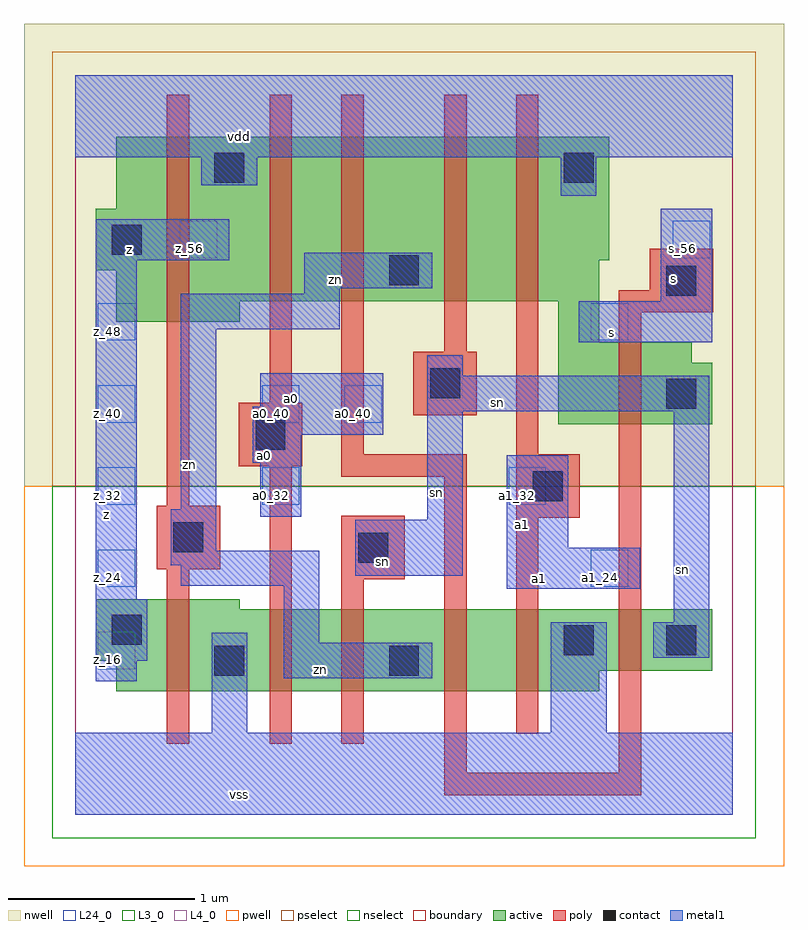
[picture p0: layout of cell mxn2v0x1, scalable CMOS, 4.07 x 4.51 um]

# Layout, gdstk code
import gdstk
lib = gdstk.Library(unit=1e-6, precision=2.5e-09)
def R(c, l, rs):  # rectangles x0, y0, x1, y1
    for r in rs: c.add(gdstk.rectangle(r[:2], r[2:], *l))
def A(c, l, x, y, w, h, nx, ny, dx, dy):  # array of equal rectangles
    R(c, l, [(x+i*dx, y+j*dy, x+i*dx+w, y+j*dy+h) for i in range(nx) for j in range(ny)])
L3_0 = (3, 0)
L4_0 = (4, 0)
L24_0 = (24, 0)
contact = (25, 0)
pwell = (41, 0)
nwell = (42, 0)
active = (43, 0)
pselect = (44, 0)
nselect = (45, 0)
poly = (46, 0)
metal1 = (49, 0)
boundary = (63, 0)

mxn2v0x1 = lib.new_cell('mxn2v0x1')
R(mxn2v0x1, L3_0, [(0.22,0.66,2.805,0.77), (0.22,0.77,3.41,0.825), (0.11,0.825,3.41,1.1), (0.11,1.1,0.88,1.155)])
R(mxn2v0x1, L4_0, [(2.585,2.09,3.41,2.42), (2.585,2.42,3.3,2.53), (2.585,2.53,2.805,2.75), (0.22,2.64,0.88,2.75), (0.22,2.75,2.805,2.915), (0.11,2.915,2.805,2.97), (0.11,2.97,2.86,3.245), (0.22,3.245,2.86,3.63)])
A(mxn2v0x1, L24_0, 0.12, 0.78, 0.2, 0.2, 1, 5, 0, 0.44)
R(mxn2v0x1, L24_0, [(2.76,1.22,2.96,1.42), (1,1.66,1.2,1.86), (2.32,1.66,2.52,1.86), (1,2.1,1.2,2.3), (1.44,2.1,1.64,2.3), (2.76,2.54,2.96,2.74), (0.56,2.98,0.76,3.18), (3.2,2.98,3.4,3.18)])
R(mxn2v0x1, contact, [(0.745,0.745,0.905,0.905), (1.68,0.745,1.84,0.905), (2.615,0.855,2.775,1.015), (3.165,0.855,3.325,1.015), (0.195,0.91,0.355,1.07), (1.515,1.35,1.675,1.51), (0.525,1.405,0.685,1.565), (2.45,1.68,2.61,1.84), (0.965,1.955,1.125,2.115), (3.165,2.175,3.325,2.335), (1.9,2.23,2.06,2.39), (3.165,2.78,3.325,2.94), (1.68,2.835,1.84,2.995), (0.195,3,0.355,3.16), (0.745,3.385,0.905,3.545), (2.615,3.385,2.775,3.545)])
R(mxn2v0x1, pwell, [(-0.275,-0.275,3.795,1.76)])
R(mxn2v0x1, nwell, [(-0.275,1.76,3.795,4.235)])
R(mxn2v0x1, active, [(0.22,0.66,2.805,0.77), (0.22,0.77,3.41,0.825), (0.11,0.825,3.41,1.1), (0.11,1.1,0.88,1.155), (2.585,2.09,3.41,2.42), (2.585,2.42,3.3,2.53), (2.585,2.53,2.805,2.75), (0.22,2.64,0.88,2.75), (0.22,2.75,2.805,2.915), (0.11,2.915,2.805,2.97), (0.11,2.97,2.86,3.245), (0.22,3.245,2.86,3.63)])
R(mxn2v0x1, pselect, [(-0.125,1.76,3.645,4.085)])
R(mxn2v0x1, nselect, [(-0.125,-0.125,3.645,1.76)])
R(mxn2v0x1, poly, [(1.975,0.105,3.03,0.225), (1.975,0.225,2.095,1.81), (2.91,0.225,3.03,2.69), (0.49,0.38,0.61,1.315), (1.04,0.38,1.16,1.865), (1.425,0.38,1.545,1.26), (2.36,0.435,2.48,1.59), (1.425,1.26,1.765,1.6), (0.435,1.315,0.775,1.655), (2.36,1.59,2.7,1.93), (0.49,1.655,0.61,3.855), (1.425,1.81,2.095,1.93), (0.875,1.865,1.215,2.205), (1.425,1.93,1.545,3.855), (2.36,1.93,2.48,3.855), (1.81,2.14,2.15,2.48), (1.04,2.205,1.16,3.855), (1.975,2.48,2.095,3.855), (2.91,2.69,3.415,2.81), (3.075,2.81,3.415,3.03)])
R(mxn2v0x1, metal1, [(0,0,3.52,0.44), (0.73,0.44,0.92,0.975), (2.545,0.44,2.845,1.03), (0.11,0.715,0.33,0.825), (1.115,0.73,1.91,0.92), (0.11,0.825,0.385,1.155), (3.095,0.84,3.395,1.03), (1.115,0.92,1.305,1.225), (3.205,1.03,3.395,2.16), (0.11,1.155,0.33,2.97), (2.31,1.21,3.025,1.43), (0.565,1.225,1.305,1.335), (1.5,1.28,2.075,1.58), (0.51,1.335,1.305,1.415), (0.51,1.415,0.755,1.635), (2.31,1.43,2.64,1.925), (1.885,1.58,2.075,2.16), (0.99,1.595,1.21,1.885), (0.565,1.635,0.755,2.6), (0.95,1.885,1.21,2.035), (0.95,2.035,1.65,2.185), (1.885,2.16,3.395,2.35), (0.99,2.185,1.65,2.365), (1.885,2.35,2.075,2.46), (2.695,2.53,3.41,2.75), (0.565,2.6,1.415,2.79), (3.135,2.75,3.41,3.245), (1.225,2.79,1.415,2.82), (1.225,2.82,1.91,3.01), (0.11,2.97,0.825,3.19), (2.6,3.315,2.79,3.52), (0.675,3.37,0.975,3.52), (0,3.52,3.52,3.96)])
R(mxn2v0x1, boundary, [(0,0,3.52,3.96)])
mxn2v0x1.add(gdstk.Label('vss', (0.88,0.11), layer=49, texttype=0))
mxn2v0x1.add(gdstk.Label('zn', (1.3125,0.7775), layer=49, texttype=0))
mxn2v0x1.add(gdstk.Label('sn', (3.2525,1.3125), layer=49, texttype=0))
mxn2v0x1.add(gdstk.Label('a1', (2.4875,1.265), layer=49, texttype=0))
mxn2v0x1.add(gdstk.Label('a1', (2.3925,1.5525), layer=49, texttype=0))
mxn2v0x1.add(gdstk.Label('sn', (1.6425,1.355), layer=49, texttype=0))
mxn2v0x1.add(gdstk.Label('sn', (1.9325,1.725), layer=49, texttype=0))
mxn2v0x1.add(gdstk.Label('a0', (1.015,1.9225), layer=49, texttype=0))
mxn2v0x1.add(gdstk.Label('sn', (2.2625,2.2075), layer=49, texttype=0))
mxn2v0x1.add(gdstk.Label('a0', (1.155,2.23), layer=49, texttype=0))
mxn2v0x1.add(gdstk.Label('s', (2.8725,2.585), layer=49, texttype=0))
mxn2v0x1.add(gdstk.Label('zn', (0.6125,1.875), layer=49, texttype=0))
mxn2v0x1.add(gdstk.Label('s', (3.2025,2.8725), layer=49, texttype=0))
mxn2v0x1.add(gdstk.Label('zn', (1.395,2.8675), layer=49, texttype=0))
mxn2v0x1.add(gdstk.Label('z', (0.165,1.6075), layer=49, texttype=0))
mxn2v0x1.add(gdstk.Label('z', (0.2875,3.025), layer=49, texttype=0))
mxn2v0x1.add(gdstk.Label('vdd', (0.88,3.63), layer=49, texttype=0))
mxn2v0x1.add(gdstk.Label('z_56', (0.61,3.03), layer=24, texttype=0))
mxn2v0x1.add(gdstk.Label('a0_40', (1.05,2.15), layer=24, texttype=0))
mxn2v0x1.add(gdstk.Label('s_48', (2.81,2.59), layer=24, texttype=0))
mxn2v0x1.add(gdstk.Label('a1_24', (2.81,1.27), layer=24, texttype=0))
mxn2v0x1.add(gdstk.Label('a1_32', (2.37,1.71), layer=24, texttype=0))
mxn2v0x1.add(gdstk.Label('z_48', (0.17,2.59), layer=24, texttype=0))
mxn2v0x1.add(gdstk.Label('z_40', (0.17,2.15), layer=24, texttype=0))
mxn2v0x1.add(gdstk.Label('z_32', (0.17,1.71), layer=24, texttype=0))
mxn2v0x1.add(gdstk.Label('z_16', (0.17,0.83), layer=24, texttype=0))
mxn2v0x1.add(gdstk.Label('z_24', (0.17,1.27), layer=24, texttype=0))
mxn2v0x1.add(gdstk.Label('s_56', (3.25,3.03), layer=24, texttype=0))
mxn2v0x1.add(gdstk.Label('a0_40', (1.49,2.15), layer=24, texttype=0))
mxn2v0x1.add(gdstk.Label('a0_32', (1.05,1.71), layer=24, texttype=0))

lib.write_gds('mxn2v0x1.gds')
